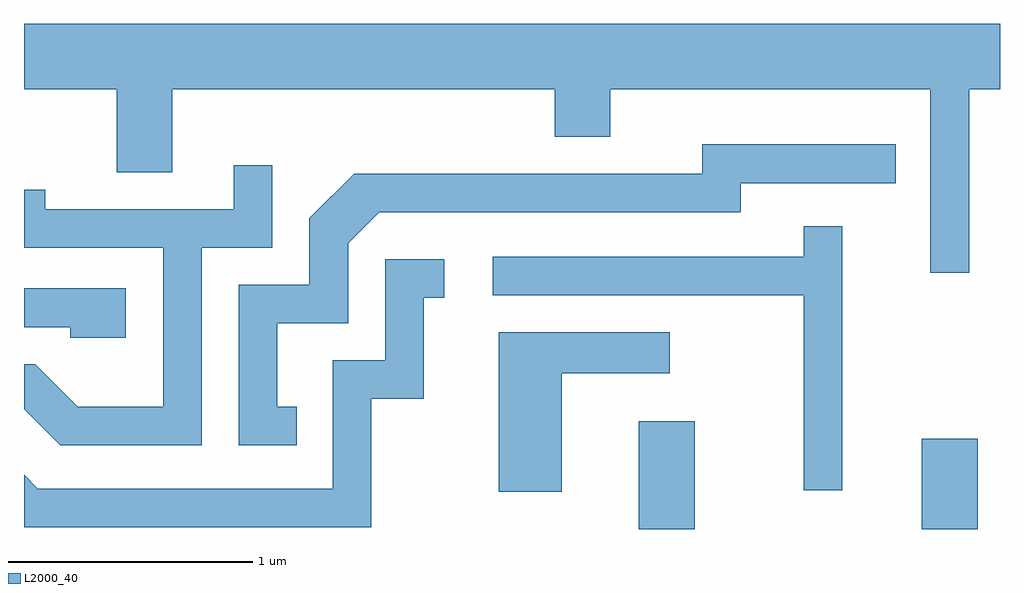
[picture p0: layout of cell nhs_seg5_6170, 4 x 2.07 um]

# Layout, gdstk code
import gdstk
lib = gdstk.Library(unit=1e-6, precision=1e-09)
def R(c, l, rs):  # rectangles x0, y0, x1, y1
    for r in rs: c.add(gdstk.rectangle(r[:2], r[2:], *l))
def P(c, l, *ps):  # polygons
    for p in ps: c.add(gdstk.Polygon(p, *l))
L2000_40 = (2000, 40)

nhs_seg5_6170 = lib.new_cell('nhs_seg5_6170')
R(nhs_seg5_6170, L2000_40, [(370.131,1486.072,370.359,1486.514), (371.291,1486.072,371.519,1486.444)])
P(nhs_seg5_6170, L2000_40, [(371.484,1487.876),(371.611,1487.876),(371.611,1488.144),(367.611,1488.144),(367.611,1487.876),(367.991,1487.876),(367.991,1487.536),(368.219,1487.536),(368.219,1487.876),(369.786,1487.876),(369.786,1487.681),(370.014,1487.681),(370.014,1487.876),(371.326,1487.876),(371.326,1487.123),(371.484,1487.123)],
  [(368.728,1486.574),(368.649,1486.574),(368.649,1486.916),(368.939,1486.916),(368.939,1487.244),(369.067,1487.371),(370.549,1487.371),(370.549,1487.491),(371.183,1487.491),(371.183,1487.649),(370.391,1487.649),(370.391,1487.529),(368.964,1487.529),(368.781,1487.347),(368.781,1487.074),(368.491,1487.074),(368.491,1486.416),(368.728,1486.416)],
  [(368.339,1487.226),(368.629,1487.226),(368.629,1487.563),(368.471,1487.563),(368.471,1487.384),(367.699,1487.384),(367.699,1487.463),(367.611,1487.463),(367.611,1487.226),(368.181,1487.226),(368.181,1486.574),(367.832,1486.574),(367.657,1486.749),(367.611,1486.749),(367.611,1486.564),(367.759,1486.416),(368.339,1486.416)],
  [(370.964,1487.313),(370.806,1487.313),(370.806,1487.189),(369.533,1487.189),(369.533,1487.031),(370.806,1487.031),(370.806,1486.233),(370.964,1486.233)],
  [(369.034,1486.606),(369.249,1486.606),(369.249,1487.021),(369.333,1487.021),(369.333,1487.179),(369.091,1487.179),(369.091,1486.764),(368.876,1486.764),(368.876,1486.239),(367.667,1486.239),(367.611,1486.295),(367.611,1486.081),(369.034,1486.081)],
  [(368.029,1487.059),(367.611,1487.059),(367.611,1486.901),(367.801,1486.901),(367.801,1486.856),(368.029,1486.856)],
  [(369.814,1486.711),(370.258,1486.711),(370.258,1486.879),(369.556,1486.879),(369.556,1486.226),(369.814,1486.226)])

lib.write_gds('nhs_seg5_6170.gds')
